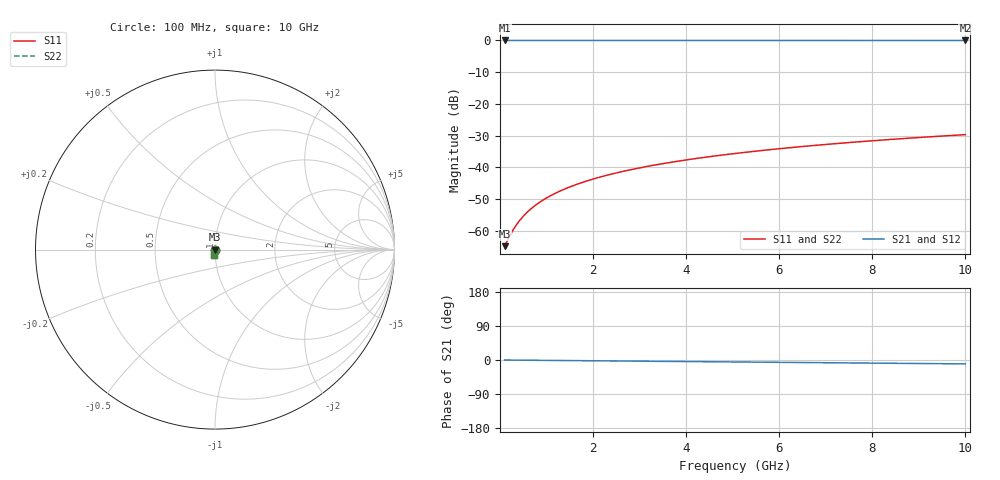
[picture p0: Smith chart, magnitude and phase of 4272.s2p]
# Hz S RI R 50.00
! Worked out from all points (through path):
!   100 points, 100 MHz to 10 GHz, reference 50 ohm
!   highest |S21| = 0.00 dB at 100 MHz (marker M1); lowest = 0.0 dB at 10 GHz (marker M2)
!   group delay of S21, straight-line fit = 2.85 ps
!   lowest |S11| = -64.8 dB at 100 MHz (marker M3), VSWR 1.00, Z = 50 - j0.0327 ohm
!   |S11| at or under -10 dB: start of sweep to end of sweep
!   |S22| runs from -64.8 to -29.7 dB; largest |S21 - S12| = 0
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1e8  0.000471 -0.000327  0.9995 -0.00178  0.9995 -0.00178  0.000471 -0.000327
2e8  0.000472 -0.000653  0.9995 -0.00356  0.9995 -0.00356  0.000472 -0.000653
3e8  0.00047 -0.00098  0.9995 -0.00533  0.9995 -0.00533  0.00047 -0.00098
4e8  0.000467 -0.00131  0.9995 -0.00711  0.9995 -0.00711  0.000467 -0.00131
5e8  0.000463 -0.00163  0.9995 -0.00889  0.9995 -0.00889  0.000463 -0.00163
6e8  0.000457 -0.00196  0.9995 -0.0107  0.9995 -0.0107  0.000457 -0.00196
7e8  0.000449 -0.00229  0.9994 -0.0124  0.9994 -0.0124  0.000449 -0.00229
9e8  0.000431 -0.00294  0.9994 -0.016  0.9994 -0.016  0.000431 -0.00294
1e9  0.00042 -0.00327  0.9993 -0.0178  0.9993 -0.0178  0.00042 -0.00327
1.2e9  0.000395 -0.00392  0.9993 -0.0213  0.9993 -0.0213  0.000395 -0.00392
1.5e9  0.000347 -0.0049  0.9991 -0.0267  0.9991 -0.0267  0.000347 -0.0049
1.8e9  0.000289 -0.00588  0.999 -0.032  0.999 -0.032  0.000289 -0.00588
2.1e9  0.00022 -0.00687  0.9988 -0.0374  0.9988 -0.0374  0.00022 -0.00687
2.5e9  0.000112 -0.00818  0.9984 -0.0445  0.9984 -0.0445  0.000112 -0.00818
2.9e9  -1.57e-05 -0.00948  0.9981 -0.0516  0.9981 -0.0516  -1.57e-05 -0.00948
3.4e9  -0.000202 -0.0111  0.9976 -0.0605  0.9976 -0.0605  -0.000202 -0.0111
4.2e9  -0.00056 -0.0137  0.9965 -0.0748  0.9965 -0.0748  -0.00056 -0.0137
5.1e9  -0.00105 -0.0167  0.9952 -0.0908  0.9952 -0.0908  -0.00105 -0.0167
5.9e9  -0.00157 -0.0193  0.9937 -0.1051  0.9937 -0.1051  -0.00157 -0.0193
6.7e9  -0.00217 -0.0219  0.992 -0.1193  0.992 -0.1193  -0.00217 -0.0219
8.4e9  -0.00368 -0.0273  0.9877 -0.1496  0.9877 -0.1496  -0.00368 -0.0273
1e10  -0.00541 -0.0324  0.9828 -0.1781  0.9828 -0.1781  -0.00541 -0.0324
